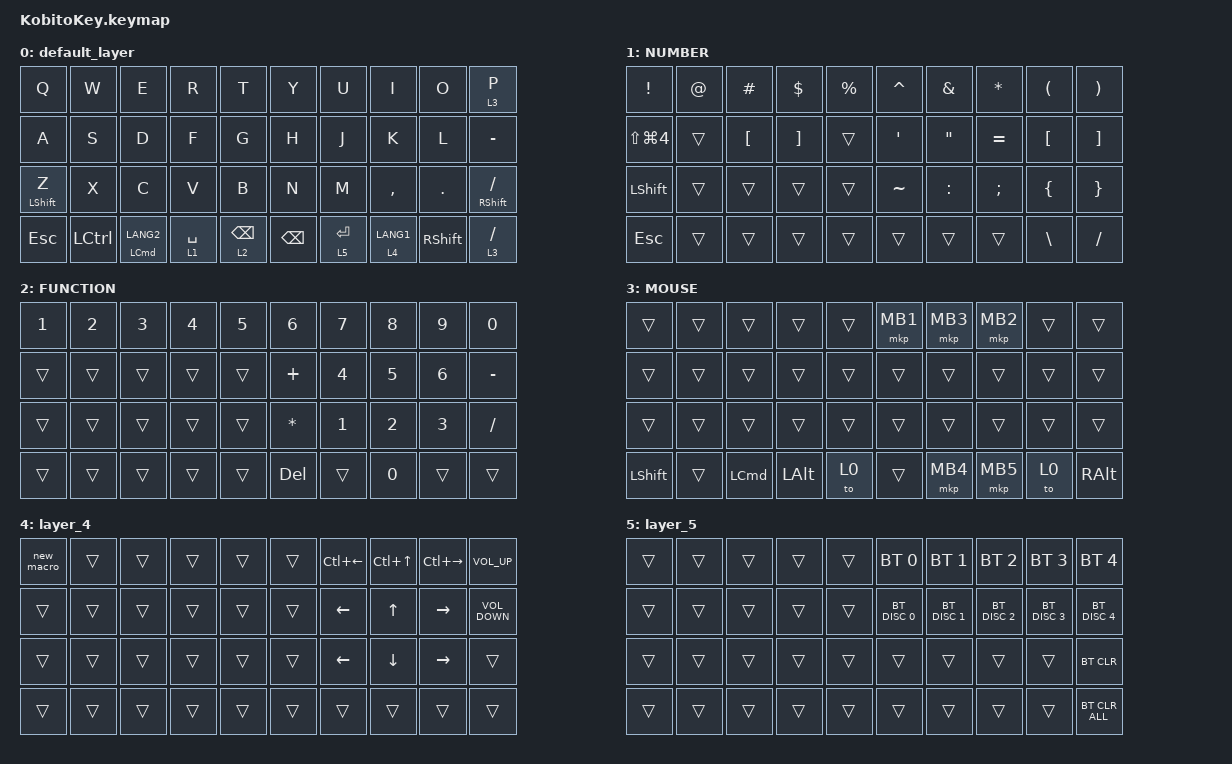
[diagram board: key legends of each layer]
#include <input/processors.dtsi>
#include <behaviors.dtsi>
#include <dt-bindings/zmk/bt.h>
#include <dt-bindings/zmk/keys.h>
#include <dt-bindings/zmk/pointing.h>

/ {
    combos {
        compatible = "zmk,combos";

        combo_eisu {
            timeout-ms = <50>;
            key-positions = <12 13>;
            bindings = <&kp LANG2>;
        };

        combo_kana {
            timeout-ms = <50>;
            key-positions = <16 17>;
            bindings = <&kp LANG1>;
        };

        combo_esc {
            timeout-ms = <50>;
            key-positions = <0 1>;
            bindings = <&kp ESC>;
        };

        combo_tab {
            timeout-ms = <50>;
            key-positions = <10 11>;
            bindings = <&kp TAB>;
        };
    };

    macros {
        new_macro: new_macro {
            compatible = "zmk,behavior-macro";
            #binding-cells = <0>;
            bindings = <&kp LS(N) &kp LS(C) &kp LS(Q) &kp LS(H) &kp C &kp F &kp M &kp N7 &kp ENTER>;
            label = "NEW_MACRO";
        };
    };

    keymap {
        compatible = "zmk,keymap";

        default_layer {
            bindings = <
&kp Q             &kp W             &kp E           &kp R        &kp T            &kp Y     &kp U        &kp I        &kp O      &lt 3 P
&kp A             &kp S             &kp D           &kp F        &kp G            &kp H     &kp J        &kp K        &kp L      &kp MINUS
&mt LEFT_SHIFT Z  &kp X             &kp C           &kp V        &kp B            &kp N     &kp M        &kp COMMA    &kp DOT    &mt RIGHT_SHIFT SLASH
&kp ESCAPE        &kp LEFT_CONTROL  &mt LCMD LANG2  &lt 1 SPACE  &lt 2 BACKSPACE  &kp BSPC  &lt 5 ENTER  &lt 4 LANG1  &kp RSHFT  &lt 3 SLASH
            >;
        };

        layer1 {
            label = "NUMBER";
            bindings = <
&kp EXCLAMATION       &kp AT_SIGN  &kp HASH          &kp DOLLAR         &kp PERCENT  &kp CARET  &kp AMPERSAND      &kp ASTERISK   &kp LEFT_PARENTHESIS  &kp RIGHT_PARENTHESIS
&kp LS(LG(NUMBER_4))  &trans       &kp LEFT_BRACKET  &kp RIGHT_BRACKET  &trans       &kp SQT    &kp DOUBLE_QUOTES  &kp EQUAL      &kp LEFT_BRACKET      &kp RIGHT_BRACKET
&kp LEFT_SHIFT        &trans       &trans            &trans             &trans       &kp TILDE  &kp COLON          &kp SEMICOLON  &kp LEFT_BRACE        &kp RIGHT_BRACE
&kp ESCAPE            &trans       &trans            &trans             &trans       &trans     &trans             &trans         &kp BACKSLASH         &kp SLASH
            >;
        };

        layer2 {
            label = "FUNCTION";
            bindings = <
&kp NUMBER_1  &kp NUMBER_2  &kp NUMBER_3  &kp NUMBER_4  &kp N5  &kp NUMBER_6  &kp N7        &kp N8        &kp N9        &kp N0
&trans        &trans        &trans        &trans        &trans  &kp PLUS      &kp NUMBER_4  &kp N5        &kp NUMBER_6  &kp MINUS
&trans        &trans        &trans        &trans        &trans  &kp ASTERISK  &kp NUMBER_1  &kp NUMBER_2  &kp NUMBER_3  &kp SLASH
&trans        &trans        &trans        &trans        &trans  &kp DEL       &trans        &kp N0        &trans        &trans
            >;
        };

        layer3 {
            label = "MOUSE";
            bindings = <
&trans     &trans  &trans    &trans    &trans  &mkp MB1  &mkp MB3  &mkp MB2  &trans  &trans
&trans     &trans  &trans    &trans    &trans  &trans    &trans    &trans    &trans  &trans
&trans     &trans  &trans    &trans    &trans  &trans    &trans    &trans    &trans  &trans
&kp LSHFT  &trans  &kp LCMD  &kp LALT  &to 0   &trans    &mkp MB4  &mkp MB5  &to 0   &kp RALT
            >;
        };

        layer_4 {
            bindings = <
&new_macro  &trans  &trans  &trans  &trans  &trans  &kp LC(LEFT)    &kp LC(UP_ARROW)  &kp LC(RIGHT_ARROW)  &kp C_VOLUME_UP
&trans      &trans  &trans  &trans  &trans  &trans  &kp LEFT_ARROW  &kp UP_ARROW      &kp RIGHT_ARROW      &kp C_VOLUME_DOWN
&trans      &trans  &trans  &trans  &trans  &trans  &kp LEFT_ARROW  &kp DOWN_ARROW    &kp RIGHT_ARROW      &trans
&trans      &trans  &trans  &trans  &trans  &trans  &trans          &trans            &trans               &trans
            >;
        };

        layer_5 {
            bindings = <
&trans  &trans  &trans  &trans  &trans  &bt BT_SEL 0   &bt BT_SEL 1   &bt BT_SEL 2   &bt BT_SEL 3   &bt BT_SEL 4
&trans  &trans  &trans  &trans  &trans  &bt BT_DISC 0  &bt BT_DISC 1  &bt BT_DISC 2  &bt BT_DISC 3  &bt BT_DISC 4
&trans  &trans  &trans  &trans  &trans  &trans         &trans         &trans         &trans         &bt BT_CLR
&trans  &trans  &trans  &trans  &trans  &trans         &trans         &trans         &trans         &bt BT_CLR_ALL
            >;
        };
    };
};
